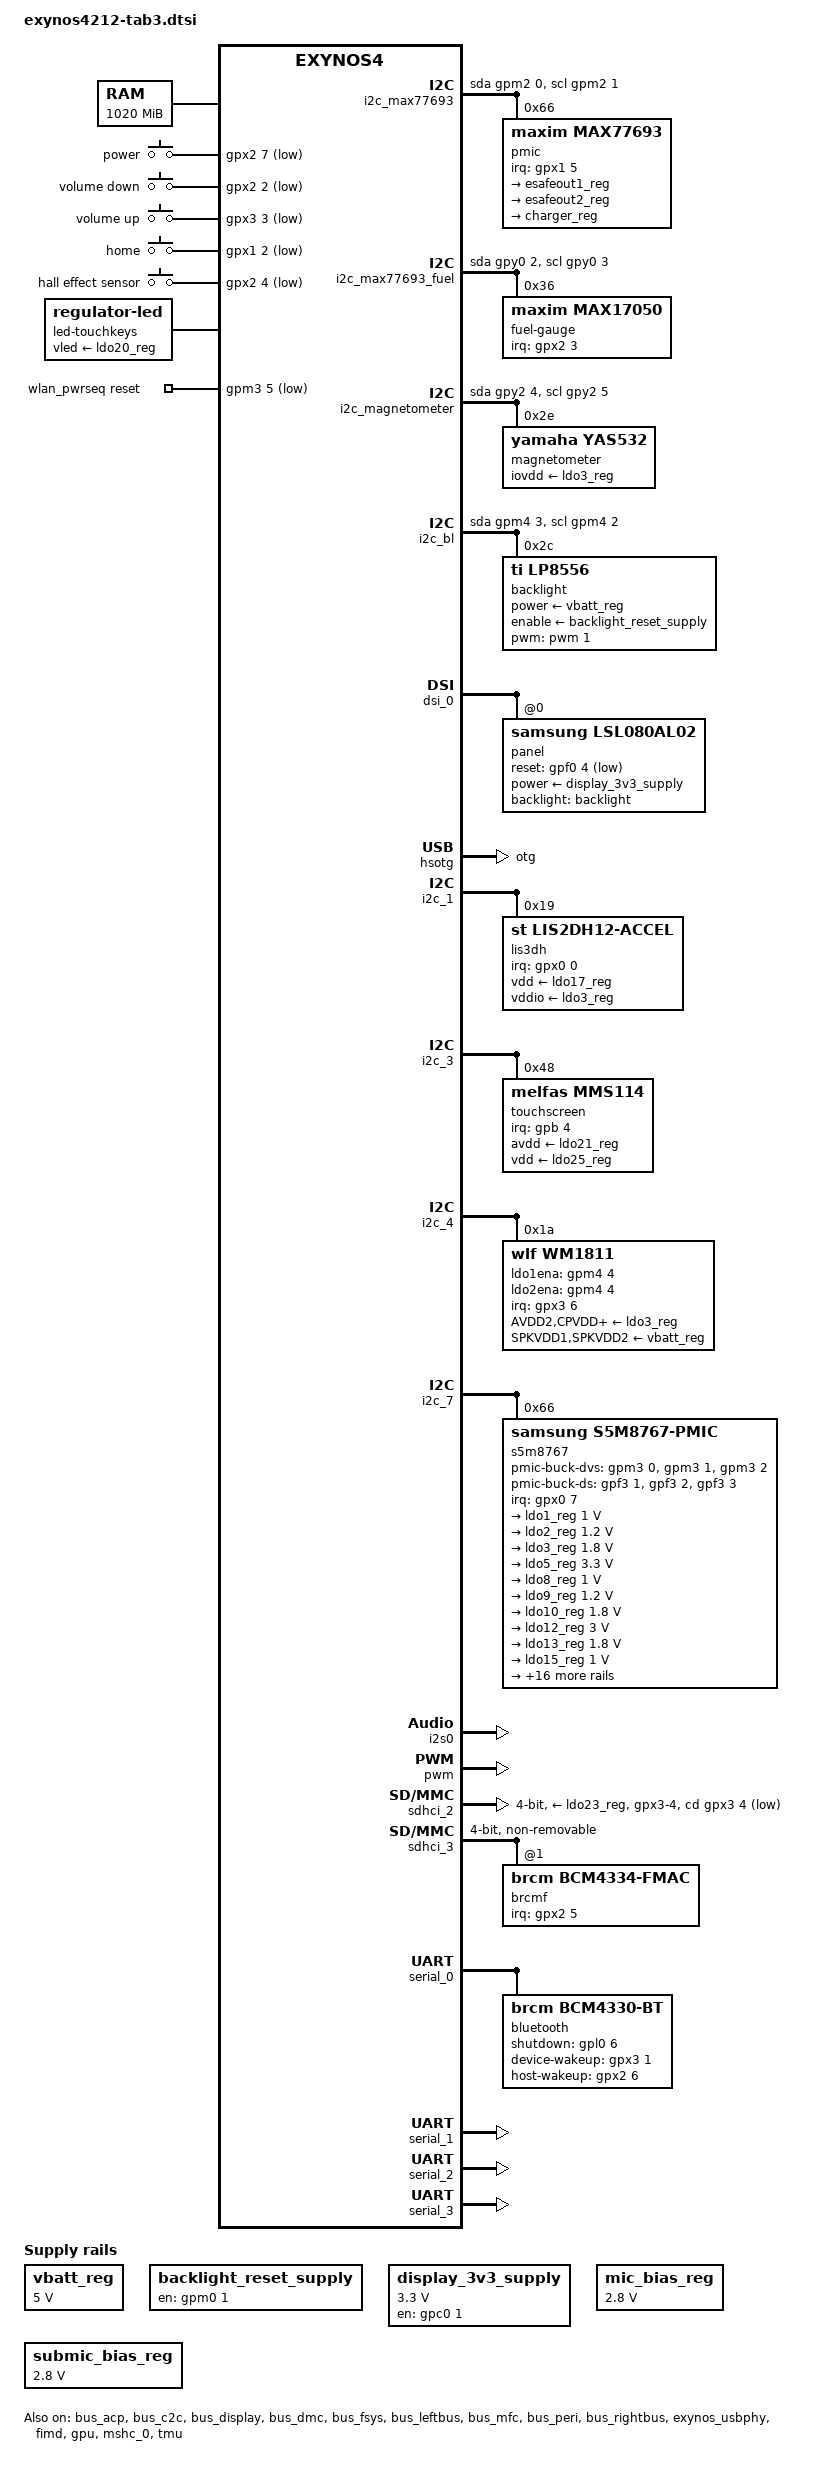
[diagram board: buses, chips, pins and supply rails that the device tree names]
// SPDX-License-Identifier: GPL-2.0
/*
 * Samsung's Exynos4212 based Galaxy Tab 3 board common source
 *
 * Copyright (c) 2013 Samsung Electronics Co., Ltd.
 *		http://www.samsung.com
 */

/dts-v1/;
#include "exynos4212.dtsi"
#include "exynos4412-ppmu-common.dtsi"
#include "exynos-mfc-reserved-memory.dtsi"
#include <dt-bindings/clock/samsung,s2mps11.h>
#include <dt-bindings/gpio/gpio.h>
#include <dt-bindings/leds/common.h>
#include <dt-bindings/input/gpio-keys.h>
#include <dt-bindings/input/input.h>
#include <dt-bindings/interrupt-controller/irq.h>
#include "exynos-pinctrl.h"

/ {
	compatible = "samsung,tab3", "samsung,exynos4212", "samsung,exynos4";

	memory@40000000 {
		device_type = "memory";

		/*
		 * Technically 1.5GB is available, but the latter 512MB is handled
		 * in a special way by downstream (every second page is skipped),
		 * and thus doesn't initialize correctly on mainline. Only 1020M is
		 * used for now.
		 */
		reg = <0x40000000 0x3fc00000>;
	};

	aliases {
		mmc0 = &mshc_0;   /* Internal storage */
		mmc1 = &sdhci_2;  /* SD card */
		mmc2 = &sdhci_3;  /* WiFi */
	};

	chosen {
		stdout-path = &serial_2;

		/* Default S-BOOT bootloader loads initramfs here */
		linux,initrd-start = <0x42000000>;
		linux,initrd-end = <0x42800000>;
	};

	firmware@204f000 {
		compatible = "samsung,secure-firmware";
		reg = <0x0204F000 0x1000>;
	};

	fixed-rate-clocks {
		xxti {
			compatible = "samsung,clock-xxti";
			clock-frequency = <0>;
		};

		xusbxti {
			compatible = "samsung,clock-xusbxti";
			clock-frequency = <24000000>;
		};
	};

	gpio-keys {
		compatible = "gpio-keys";
		pinctrl-names = "default";
		pinctrl-0 = <&gpio_keys>;

		key-power {
			gpios = <&gpx2 7 GPIO_ACTIVE_LOW>;
			linux,code = <KEY_POWER>;
			label = "power";
			debounce-interval = <10>;
			wakeup-source;
		};

		key-up {
			gpios = <&gpx2 2 GPIO_ACTIVE_LOW>;
			linux,code = <KEY_VOLUMEUP>;
			label = "volume down";
			debounce-interval = <10>;
		};

		key-down {
			gpios = <&gpx3 3 GPIO_ACTIVE_LOW>;
			linux,code = <KEY_VOLUMEDOWN>;
			label = "volume up";
			debounce-interval = <10>;
		};

		key-home {
			gpios = <&gpx1 2 GPIO_ACTIVE_LOW>;
			linux,code = <KEY_HOME>;
			label = "home";
			debounce-interval = <10>;
		};

		switch-hall-sensor {
			gpios = <&gpx2 4 GPIO_ACTIVE_LOW>;
			linux,input-type = <EV_SW>;
			linux,code = <SW_LID>;
			linux,can-disable;
			label = "hall effect sensor";
			debounce-interval = <10>;
			wakeup-source;
		};
	};

	led-touchkeys {
		compatible = "regulator-led";
		vled-supply = <&ldo20_reg>;
		default-state = "off";
		function = LED_FUNCTION_KBD_BACKLIGHT;
		color = <LED_COLOR_ID_WHITE>;
	};

	i2c_max77693: i2c-gpio-1 {
		compatible = "i2c-gpio";
		sda-gpios = <&gpm2 0 (GPIO_ACTIVE_HIGH | GPIO_OPEN_DRAIN)>;
		scl-gpios = <&gpm2 1 (GPIO_ACTIVE_HIGH | GPIO_OPEN_DRAIN)>;
		i2c-gpio,delay-us = <2>;
		#address-cells = <1>;
		#size-cells = <0>;

		pmic@66 {
			compatible = "maxim,max77693";
			reg = <0x66>;
			interrupt-parent = <&gpx1>;
			interrupts = <5 IRQ_TYPE_EDGE_FALLING>;
			pinctrl-names = "default";
			pinctrl-0 = <&max77693_irq>;

			regulators {
				esafeout1_reg: ESAFEOUT1 {
					regulator-name = "ESAFEOUT1";
					regulator-boot-on;
				};

				esafeout2_reg: ESAFEOUT2 {
					regulator-name = "ESAFEOUT2";
				};

				charger_reg: CHARGER {
					regulator-name = "CHARGER";
					regulator-min-microamp = <60000>;
					regulator-max-microamp = <2580000>;
					regulator-boot-on;
				};
			};

			charger {
				compatible = "maxim,max77693-charger";

				maxim,constant-microvolt = <4350000>;
				maxim,min-system-microvolt = <3600000>;
				maxim,thermal-regulation-celsius = <100>;
				maxim,battery-overcurrent-microamp = <3500000>;
				maxim,charge-input-threshold-microvolt = <4300000>;
			};
		};
	};

	i2c_max77693_fuel: i2c-gpio-2 {
		compatible = "i2c-gpio";
		sda-gpios = <&gpy0 2 (GPIO_ACTIVE_HIGH | GPIO_OPEN_DRAIN)>;
		scl-gpios = <&gpy0 3 (GPIO_ACTIVE_HIGH | GPIO_OPEN_DRAIN)>;
		i2c-gpio,delay-us = <2>;
		#address-cells = <1>;
		#size-cells = <0>;

		fuel-gauge@36 {
			compatible = "maxim,max17050";
			reg = <0x36>;
			interrupt-parent = <&gpx2>;
			interrupts = <3 IRQ_TYPE_EDGE_FALLING>;
			pinctrl-names = "default";
			pinctrl-0 = <&max77693_fuel_irq>;

			maxim,over-heat-temp = <500>;
			maxim,over-volt = <4500>;
		};
	};

	i2c_magnetometer: i2c-gpio-3 {
		compatible = "i2c-gpio";
		sda-gpios = <&gpy2 4 (GPIO_ACTIVE_HIGH | GPIO_OPEN_DRAIN)>;
		scl-gpios = <&gpy2 5 (GPIO_ACTIVE_HIGH | GPIO_OPEN_DRAIN)>;
		i2c-gpio,delay-us = <2>;
		#address-cells = <1>;
		#size-cells = <0>;

		magnetometer@2e {
			compatible = "yamaha,yas532";
			reg = <0x2e>;
			iovdd-supply = <&ldo3_reg>;
			mount-matrix = "-1", "0", "0",
					  "0", "1", "0",
					  "0", "0", "-1";
		};
	};

	i2c_lightsensor: i2c-gpio-4 {
		compatible = "i2c-gpio";
		sda-gpios = <&gpl0 2 (GPIO_ACTIVE_HIGH | GPIO_OPEN_DRAIN)>;
		scl-gpios = <&gpl0 1 (GPIO_ACTIVE_HIGH | GPIO_OPEN_DRAIN)>;
		i2c-gpio,delay-us = <2>;
		#address-cells = <1>;
		#size-cells = <0>;
		status = "disabled";

		/* WiFi model uses CM3323, 3G/LTE use CM36653 */
	};

	i2c_bl: i2c-gpio-5 {
		compatible = "i2c-gpio";
		sda-gpios = <&gpm4 3 (GPIO_ACTIVE_HIGH | GPIO_OPEN_DRAIN)>;
		scl-gpios = <&gpm4 2 (GPIO_ACTIVE_HIGH | GPIO_OPEN_DRAIN)>;
		#address-cells = <1>;
		#size-cells = <0>;

		backlight: backlight@2c {
			compatible = "ti,lp8556";
			reg = <0x2c>;

			bl-name = "lcd-bl";
			dev-ctrl = /bits/ 8 <0x80>;
			init-brt = /bits/ 8 <0x78>; /* 120 */

			power-supply = <&vbatt_reg>;
			enable-supply = <&backlight_reset_supply>;

			pwms = <&pwm 1 78770 0>;
			pwm-names = "lp8556";

			rom-a3h {
				rom-addr = /bits/ 8 <0xa3>;
				rom-val = /bits/ 8 <0x5e>;
			};

			rom-a5h {
				rom-addr = /bits/ 8 <0xa5>;
				rom-val = /bits/ 8 <0x34>;
			};

			rom-a7h {
				rom-addr = /bits/ 8 <0xa7>;
				rom-val = /bits/ 8 <0xfa>;
			};
		};
	};

	vbatt_reg: voltage-regulator-1 {
		compatible = "regulator-fixed";
		regulator-name = "VBATT";
		regulator-min-microvolt = <5000000>;
		regulator-max-microvolt = <5000000>;
		regulator-always-on;
	};

	backlight_reset_supply: voltage-regulator-2 {
		compatible = "regulator-fixed";
		regulator-name = "BACKLIGHT_ENVDDIO";
		pinctrl-names = "default";
		pinctrl-0 = <&backlight_reset>;
		gpio = <&gpm0 1 GPIO_ACTIVE_HIGH>;
		enable-active-high;
	};

	display_3v3_supply: voltage-regulator-3 {
		compatible = "regulator-fixed";
		regulator-name = "DISPLAY_3.3V";
		regulator-min-microvolt = <3300000>;
		regulator-max-microvolt = <3300000>;
		pinctrl-names = "default";
		pinctrl-0 = <&lcd_en>;
		gpio = <&gpc0 1 GPIO_ACTIVE_HIGH>; /* LCD_EN */
		enable-active-high;
	};

	mic_bias_reg: voltage-regulator-4 {
		compatible = "regulator-fixed";
		regulator-name = "MICBIAS_LDO_2.8V";
		regulator-min-microvolt = <2800000>;
		regulator-max-microvolt = <2800000>;
	};

	submic_bias_reg: voltage-regulator-5 {
		compatible = "regulator-fixed";
		regulator-name = "SUB_MICBIAS_LDO_2.8V";
		regulator-min-microvolt = <2800000>;
		regulator-max-microvolt = <2800000>;
	};

	sound: sound {
		compatible = "samsung,midas-audio";
		model = "TAB3";
		mic-bias-supply = <&mic_bias_reg>;
		submic-bias-supply = <&submic_bias_reg>;

		samsung,audio-routing =
			"HP", "HPOUT1L",
			"HP", "HPOUT1R",

			"SPK", "SPKOUTLN",
			"SPK", "SPKOUTLP",
			"SPK", "SPKOUTRN",
			"SPK", "SPKOUTRP",

			"RCV", "HPOUT2N",
			"RCV", "HPOUT2P",

			"LINE", "LINEOUT2N",
			"LINE", "LINEOUT2P",

			"HDMI", "LINEOUT1N",
			"HDMI", "LINEOUT1P",

			"IN2LP:VXRN", "MICBIAS1",
			"IN2LN", "MICBIAS1",
			"Main Mic", "MICBIAS1",

			"IN1RP", "MICBIAS2",
			"IN1RN", "MICBIAS2",
			"Sub Mic", "MICBIAS2",

			"IN1LP", "Headset Mic",
			"IN1LN", "Headset Mic";

		cpu {
			sound-dai = <&i2s0 0>;
		};

		codec {
			sound-dai = <&wm1811>;
		};
	};

	wlan_pwrseq: sdhci3-pwrseq {
		compatible = "mmc-pwrseq-simple";
		reset-gpios = <&gpm3 5 GPIO_ACTIVE_LOW>;
		clocks = <&s5m8767_osc S2MPS11_CLK_BT>;
		clock-names = "ext_clock";
	};
};

&bus_acp {
	devfreq = <&bus_dmc>;
	status = "okay";
};

&bus_c2c {
	devfreq = <&bus_dmc>;
	status = "okay";
};

&bus_display {
	devfreq = <&bus_leftbus>;
	status = "okay";
};

&bus_dmc {
	devfreq-events = <&ppmu_dmc0_3>, <&ppmu_dmc1_3>;
	vdd-supply = <&buck1_reg>;
	status = "okay";
};

&bus_fsys {
	devfreq = <&bus_leftbus>;
	status = "okay";
};

&bus_leftbus {
	devfreq-events = <&ppmu_leftbus_3>, <&ppmu_rightbus_3>;
	vdd-supply = <&buck3_reg>;
	status = "okay";
};

&bus_mfc {
	devfreq = <&bus_leftbus>;
	status = "okay";
};

&bus_peri {
	devfreq = <&bus_leftbus>;
	status = "okay";
};

&bus_rightbus {
	devfreq = <&bus_leftbus>;
	status = "okay";
};

&cpu0 {
	cpu0-supply = <&buck2_reg>;
};

&cpu_thermal {
	cooling-maps {
		map0 {
			/* Corresponds to 800MHz at freq_table */
			cooling-device = <&cpu0 7 7>, <&cpu1 7 7>;
		};
		map1 {
			/* Corresponds to 200MHz at freq_table */
			cooling-device = <&cpu0 13 13>, <&cpu1 13 13>;
		};
	};
};

&dsi_0 {
	vddcore-supply = <&ldo8_reg>;
	vddio-supply = <&ldo10_reg>;
	samsung,burst-clock-frequency = <500000000>;
	samsung,esc-clock-frequency = <20000000>;
	samsung,pll-clock-frequency = <24000000>;
	status = "okay";

	panel@0 {
		compatible = "samsung,lsl080al02", "samsung,s6d7aa0";
		reg = <0>;
		power-supply = <&display_3v3_supply>;
		pinctrl-names = "default";
		pinctrl-0 = <&lcd_nrst>;
		reset-gpios = <&gpf0 4 GPIO_ACTIVE_LOW>;
		backlight = <&backlight>;
	};
};

&exynos_usbphy {
	vbus-supply = <&esafeout1_reg>;
	status = "okay";
};

&fimd {
	samsung,invert-vclk;
	status = "okay";
};

&gpu {
	mali-supply = <&buck4_reg>;
	status = "okay";
};

&hsotg {
	vusb_d-supply = <&ldo15_reg>;
	vusb_a-supply = <&ldo12_reg>;
	dr_mode = "otg";
	status = "okay";
};

&i2c_1 {
	pinctrl-0 = <&i2c1_bus>;
	pinctrl-names = "default";
	status = "okay";

	lis3dh: accelerometer@19 {
		/* K2DH seems to be the same as lis2dh12 in terms of registers */
		compatible = "st,lis2dh12-accel";
		reg = <0x19>;

		interrupt-parent = <&gpx0>;
		interrupts = <0 IRQ_TYPE_EDGE_FALLING>;

		vdd-supply = <&ldo17_reg>;
		vddio-supply = <&ldo3_reg>;

		mount-matrix = "-1", "0", "0",
				  "0", "1", "0",
				  "0", "0", "-1";
	};
};

&i2c_3 {
	samsung,i2c-sda-delay = <100>;
	samsung,i2c-slave-addr = <0x10>;
	samsung,i2c-max-bus-freq = <400000>;
	pinctrl-0 = <&i2c3_bus>;
	pinctrl-names = "default";
	status = "okay";

	touchscreen@48 {
		/* MELFAS MMS252, using MMS114 compatible for now */
		compatible = "melfas,mms114";
		reg = <0x48>;
		interrupt-parent = <&gpb>;
		interrupts = <4 IRQ_TYPE_EDGE_FALLING>;
		touchscreen-size-x = <800>;
		touchscreen-size-y = <1280>;
		avdd-supply = <&ldo21_reg>;
		vdd-supply = <&ldo25_reg>;
		linux,keycodes = <KEY_MENU KEY_BACK>;
	};
};

&i2c_4 {
	samsung,i2c-sda-delay = <100>;
	samsung,i2c-slave-addr = <0x10>;
	samsung,i2c-max-bus-freq = <100000>;
	pinctrl-0 = <&i2c4_bus>;
	pinctrl-names = "default";
	status = "okay";

	wm1811: audio-codec@1a {
		compatible = "wlf,wm1811";
		reg = <0x1a>;
		clocks = <&pmu_system_controller 0>;
		clock-names = "MCLK1";
		interrupt-controller;
		#interrupt-cells = <2>;
		interrupt-parent = <&gpx3>;
		interrupts = <6 IRQ_TYPE_LEVEL_HIGH>;

		gpio-controller;
		#gpio-cells = <2>;
		#sound-dai-cells = <0>;

		wlf,gpio-cfg = <0x3 0x0 0x0 0x0 0x0 0x0
			0x0 0x8000 0x0 0x0 0x0>;
		wlf,micbias-cfg = <0x25 0x2f>;

		wlf,lineout1-feedback;
		wlf,lineout1-se;
		wlf,lineout2-se;
		wlf,ldoena-always-driven;

		AVDD2-supply = <&ldo3_reg>;
		CPVDD-supply = <&ldo3_reg>;
		DBVDD1-supply = <&ldo3_reg>;
		DBVDD2-supply = <&ldo3_reg>;
		DBVDD3-supply = <&ldo3_reg>;
		SPKVDD1-supply = <&vbatt_reg>;
		SPKVDD2-supply = <&vbatt_reg>;
		wlf,ldo1ena-gpios = <&gpm4 4 GPIO_ACTIVE_HIGH>;
		wlf,ldo2ena-gpios = <&gpm4 4 GPIO_ACTIVE_HIGH>;
	};
};

&i2c_7 {
	samsung,i2c-sda-delay = <100>;
	samsung,i2c-slave-addr = <0x10>;
	samsung,i2c-max-bus-freq = <100000>;
	pinctrl-0 = <&i2c7_bus>;
	pinctrl-names = "default";
	status = "okay";

	s5m8767: pmic@66 {
		compatible = "samsung,s5m8767-pmic";
		reg = <0x66>;
		interrupt-parent = <&gpx0>;
		interrupts = <7 IRQ_TYPE_LEVEL_LOW>;
		pinctrl-names = "default";
		pinctrl-0 = <&s5m8767_irq &s5m8767_dvs &s5m8767_ds>;
		wakeup-source;

		s5m8767,pmic-buck-default-dvs-idx = <1>;

		s5m8767,pmic-buck-dvs-gpios = <&gpm3 0 GPIO_ACTIVE_HIGH>,
						 <&gpm3 1 GPIO_ACTIVE_HIGH>,
						 <&gpm3 2 GPIO_ACTIVE_HIGH>;

		s5m8767,pmic-buck-ds-gpios = <&gpf3 1 GPIO_ACTIVE_HIGH>,
						 <&gpf3 2 GPIO_ACTIVE_HIGH>,
						 <&gpf3 3 GPIO_ACTIVE_HIGH>;

		s5m8767,pmic-buck2-dvs-voltage = <1100000>, <1100000>,
						<1100000>, <1100000>,
						<1100000>, <1100000>,
						<1100000>, <1100000>;

		s5m8767,pmic-buck3-dvs-voltage = <1100000>, <1100000>,
						<1100000>, <1100000>,
						<1100000>, <1100000>,
						<1100000>, <1100000>;

		s5m8767,pmic-buck4-dvs-voltage = <1100000>, <1100000>,
						<1100000>, <1100000>,
						<1100000>, <1100000>,
						<1100000>, <1100000>;

		regulators {
			ldo1_reg: LDO1 {
				regulator-name = "VALIVE_1.0V_AP";
				regulator-min-microvolt = <1000000>;
				regulator-max-microvolt = <1000000>;
				regulator-always-on;
				regulator-boot-on;
				op_mode = <1>;
			};

			ldo2_reg: LDO2 {
				regulator-name = "VM1M2_1.2V_AP";
				regulator-min-microvolt = <1200000>;
				regulator-max-microvolt = <1200000>;
				regulator-always-on;
				regulator-boot-on;
				op_mode = <1>;
			};

			ldo3_reg: LDO3 {
				regulator-name = "VCC_1.8V_AP";
				regulator-min-microvolt = <1800000>;
				regulator-max-microvolt = <1800000>;
				regulator-always-on;
				op_mode = <1>;
			};

			ldo5_reg: LDO5 {
				regulator-name = "VCC_3.3V_MHL";
				regulator-min-microvolt = <3300000>;
				regulator-max-microvolt = <3300000>;
				op_mode = <1>;
			};

			ldo8_reg: LDO8 {
				regulator-name = "VMIPI_1.0V";
				regulator-min-microvolt = <1000000>;
				regulator-max-microvolt = <1000000>;
				op_mode = <3>;
			};

			ldo9_reg: LDO9 {
				regulator-name = "VSIL_1.2V";
				regulator-min-microvolt = <1200000>;
				regulator-max-microvolt = <1200000>;
				op_mode = <1>;
			};

			ldo10_reg: LDO10 {
				regulator-name = "VMIPI_1.8V";
				regulator-min-microvolt = <1800000>;
				regulator-max-microvolt = <1800000>;
				op_mode = <3>;
			};

			ldo12_reg: LDO12 {
				regulator-name = "VUOTG_3.0V";
				regulator-min-microvolt = <3000000>;
				regulator-max-microvolt = <3000000>;
				op_mode = <1>;
				regulator-state-mem {
					regulator-off-in-suspend;
				};
			};

			ldo13_reg: LDO13 {
				regulator-name = "VCC_1.8V_MHL";
				regulator-min-microvolt = <1800000>;
				regulator-max-microvolt = <1800000>;
				op_mode = <1>;
			};

			ldo15_reg: LDO15 {
				regulator-name = "VHSIC_1.0V";
				regulator-min-microvolt = <1000000>;
				regulator-max-microvolt = <1000000>;
				op_mode = <1>;
				regulator-state-mem {
					regulator-on-in-suspend;
				};
			};

			ldo17_reg: LDO17 {
				regulator-name = "VCC_2.8V_AP";
				regulator-min-microvolt = <2800000>;
				regulator-max-microvolt = <2800000>;
				op_mode = <1>;
				regulator-always-on;
			};

			ldo19_reg: LDO19 {
				regulator-name = "VLED_IC_1.9V";
				regulator-min-microvolt = <1900000>;
				regulator-max-microvolt = <1900000>;
				op_mode = <1>;
				regulator-always-on;
			};

			ldo20_reg: LDO20 {
				regulator-name = "VTOUCH_3.3V";
				regulator-min-microvolt = <3300000>;
				regulator-max-microvolt = <3300000>;
				op_mode = <1>;
			};

			ldo21_reg: LDO21 {
				regulator-name = "TSP_VDD_3.3V";
				regulator-min-microvolt = <3300000>;
				regulator-max-microvolt = <3300000>;
				op_mode = <1>;
			};

			ldo22_reg: LDO22 {
				regulator-name = "5M_AF_2.8V";
				regulator-min-microvolt = <2800000>;
				regulator-max-microvolt = <2800000>;
				op_mode = <1>;
			};

			ldo23_reg: LDO23 {
				regulator-name = "VTF_2.8V";
				regulator-min-microvolt = <2800000>;
				regulator-max-microvolt = <2800000>;
				op_mode = <3>;
			};

			ldo24_reg: LDO24 {
				regulator-name = "LEDA_2.8V";
				regulator-min-microvolt = <2800000>;
				regulator-max-microvolt = <2800000>;
				op_mode = <1>;
			};

			ldo25_reg: LDO25 {
				regulator-name = "TSP_VDD_1.8V";
				regulator-min-microvolt = <1800000>;
				regulator-max-microvolt = <1800000>;
				op_mode = <1>;
			};

			ldo26_reg: LDO26 {
				regulator-name = "CAM_IO_1.8V";
				regulator-min-microvolt = <1800000>;
				regulator-max-microvolt = <1800000>;
				op_mode = <1>;
			};

			ldo27_reg: LDO27 {
				regulator-name = "VTCAM_1.8V";
				regulator-min-microvolt = <1800000>;
				regulator-max-microvolt = <1800000>;
				op_mode = <1>;
			};

			buck1_reg: BUCK1 {
				regulator-name = "VDD_MIF";
				regulator-min-microvolt = <850000>;
				regulator-max-microvolt = <1100000>;
				regulator-always-on;
				regulator-boot-on;
				op_mode = <3>;
			};

			buck2_reg: BUCK2 {
				regulator-name = "VDD_ARM";
				regulator-min-microvolt = <850000>;
				regulator-max-microvolt = <1500000>;
				regulator-always-on;
				regulator-boot-on;
				op_mode = <3>;
			};

			buck3_reg: BUCK3 {
				regulator-name = "VDD_INT";
				regulator-min-microvolt = <850000>;
				regulator-max-microvolt = <1300000>;
				regulator-always-on;
				regulator-boot-on;
				op_mode = <3>;
			};

			buck4_reg: BUCK4 {
				regulator-name = "VDD_G3D";
				regulator-min-microvolt = <850000>;
				regulator-max-microvolt = <1150000>;
				regulator-boot-on;
				op_mode = <3>;
			};

			buck5_reg: BUCK5 {
				regulator-name = "VMEM_1.2V_AP";
				regulator-min-microvolt = <1200000>;
				regulator-max-microvolt	= <1200000>;
				regulator-always-on;
				regulator-boot-on;
				op_mode = <1>;
			};

			buck6_reg: BUCK6 {
				regulator-name = "CAM_ISP_CORE_1.2V";
				regulator-min-microvolt = <1200000>;
				regulator-max-microvolt = <1200000>;
				op_mode = <1>;

				regulator-state-mem {
					regulator-off-in-suspend;
				};
			};
		};

		s5m8767_osc: clocks {
			compatible = "samsung,s5m8767-clk";
			#clock-cells = <1>;
			clock-output-names = "en32khz_ap",
					     "en32khz_cp",
					     "en32khz_bt";
		};
	};
};

&i2s0 {
	pinctrl-0 = <&i2s0_bus>;
	pinctrl-names = "default";
	status = "okay";
};

&mshc_0 {
	broken-cd;
	non-removable;
	card-detect-delay = <200>;
	vmmc-supply = <&ldo22_reg>;
	clock-frequency = <400000000>;
	samsung,dw-mshc-ciu-div = <0>;
	samsung,dw-mshc-sdr-timing = <2 3>;
	samsung,dw-mshc-ddr-timing = <1 2>;
	pinctrl-0 = <&sd4_clk &sd4_cmd &sd4_bus4 &sd4_bus8>;
	pinctrl-names = "default";
	bus-width = <8>;
	cap-mmc-highspeed;
	mmc-ddr-1_8v;
	status = "okay";
};

&pinctrl_0 {
	pinctrl-names = "default";
	pinctrl-0 = <&sleep0>;

	lcd_en: lcd-en-pins {
		samsung,pins = "gpc0-1";
		samsung,pin-function = <EXYNOS_PIN_FUNC_OUTPUT>;
		samsung,pin-pud = <EXYNOS_PIN_PULL_NONE>;
	};

	lcd_nrst: lcd-nrst-pins {
		samsung,pins = "gpf0-4";
		samsung,pin-function = <EXYNOS_PIN_FUNC_OUTPUT>;
		samsung,pin-pud = <EXYNOS_PIN_PULL_NONE>;
	};

	s5m8767_ds: s5m8767-ds-pins {
		samsung,pins = "gpf3-1", "gpf3-2", "gpf3-3";
		samsung,pin-function = <EXYNOS_PIN_FUNC_INPUT>;
		samsung,pin-pud = <EXYNOS_PIN_PULL_DOWN>;
		samsung,pin-drv = <EXYNOS4_PIN_DRV_LV1>;
	};

	sleep0: sleep-state {
		PIN_SLP(gpa0-0, INPUT, NONE);
		PIN_SLP(gpa0-1, OUT0, NONE);
		PIN_SLP(gpa0-2, INPUT, NONE);
		PIN_SLP(gpa0-3, INPUT, UP);
		PIN_SLP(gpa0-4, INPUT, DOWN);
		PIN_SLP(gpa0-5, INPUT, DOWN);
		PIN_SLP(gpa0-6, INPUT, DOWN);
		PIN_SLP(gpa0-7, INPUT, DOWN);

		PIN_SLP(gpa1-0, INPUT, DOWN);
		PIN_SLP(gpa1-1, INPUT, DOWN);
		PIN_SLP(gpa1-2, INPUT, DOWN);
		PIN_SLP(gpa1-3, INPUT, DOWN);
		PIN_SLP(gpa1-4, INPUT, DOWN);
		PIN_SLP(gpa1-5, INPUT, DOWN);

		PIN_SLP(gpb-0, INPUT, NONE);
		PIN_SLP(gpb-1, INPUT, NONE);
		PIN_SLP(gpb-2, INPUT, NONE);
		PIN_SLP(gpb-3, INPUT, NONE);
		PIN_SLP(gpb-4, INPUT, DOWN);
		PIN_SLP(gpb-5, INPUT, DOWN);
		PIN_SLP(gpb-6, INPUT, DOWN);
		PIN_SLP(gpb-7, INPUT, DOWN);

		PIN_SLP(gpc0-0, INPUT, DOWN);
		PIN_SLP(gpc0-1, INPUT, DOWN);
		PIN_SLP(gpc0-2, INPUT, NONE);
		PIN_SLP(gpc0-3, INPUT, NONE);
		PIN_SLP(gpc0-4, INPUT, NONE);

		PIN_SLP(gpc1-0, INPUT, DOWN);
		PIN_SLP(gpc1-1, INPUT, DOWN);
		PIN_SLP(gpc1-2, INPUT, DOWN);
		PIN_SLP(gpc1-3, INPUT, DOWN);
		PIN_SLP(gpc1-4, INPUT, DOWN);

		PIN_SLP(gpd0-0, INPUT, DOWN);
		PIN_SLP(gpd0-1, OUT0, NONE);
		PIN_SLP(gpd0-2, INPUT, NONE);
		PIN_SLP(gpd0-3, INPUT, NONE);

		PIN_SLP(gpd1-0, INPUT, DOWN);
		PIN_SLP(gpd1-1, INPUT, DOWN);
		PIN_SLP(gpd1-2, INPUT, NONE);
		PIN_SLP(gpd1-3, INPUT, NONE);

		PIN_SLP(gpf0-0, INPUT, DOWN);
		PIN_SLP(gpf0-1, INPUT, DOWN);
		PIN_SLP(gpf0-2, INPUT, DOWN);
		PIN_SLP(gpf0-3, INPUT, DOWN);
		PIN_SLP(gpf0-4, OUT0, NONE);
		PIN_SLP(gpf0-5, OUT0, NONE);
		PIN_SLP(gpf0-6, INPUT, DOWN);
		PIN_SLP(gpf0-7, INPUT, DOWN);

		PIN_SLP(gpf1-0, INPUT, DOWN);
		PIN_SLP(gpf1-1, INPUT, DOWN);
		PIN_SLP(gpf1-2, INPUT, DOWN);
		PIN_SLP(gpf1-3, INPUT, DOWN);
		PIN_SLP(gpf1-4, INPUT, DOWN);
		PIN_SLP(gpf1-5, INPUT, DOWN);
		PIN_SLP(gpf1-6, INPUT, DOWN);
		PIN_SLP(gpf1-7, INPUT, DOWN);

		PIN_SLP(gpf2-0, INPUT, DOWN);
		PIN_SLP(gpf2-1, INPUT, DOWN);
		PIN_SLP(gpf2-2, INPUT, DOWN);
		PIN_SLP(gpf2-3, INPUT, DOWN);
		PIN_SLP(gpf2-4, INPUT, DOWN);
		PIN_SLP(gpf2-5, INPUT, DOWN);
		PIN_SLP(gpf2-6, INPUT, DOWN);
		PIN_SLP(gpf2-7, INPUT, DOWN);

		PIN_SLP(gpf3-0, INPUT, DOWN);
		PIN_SLP(gpf3-1, INPUT, DOWN);
		PIN_SLP(gpf3-2, INPUT, DOWN);
		PIN_SLP(gpf3-3, INPUT, DOWN);
		PIN_SLP(gpf3-4, PREV, NONE);
		PIN_SLP(gpf3-5, OUT0, DOWN);

		PIN_SLP(gpj0-0, INPUT, DOWN);
		PIN_SLP(gpj0-1, INPUT, DOWN);
		PIN_SLP(gpj0-2, INPUT, DOWN);
		PIN_SLP(gpj0-3, OUT0, NONE);
		PIN_SLP(gpj0-4, INPUT, DOWN);
		PIN_SLP(gpj0-5, INPUT, DOWN);
		PIN_SLP(gpj0-6, OUT0, NONE);
		PIN_SLP(gpj0-7, OUT0, NONE);

		PIN_SLP(gpj1-0, OUT0, NONE);
		PIN_SLP(gpj1-1, INPUT, DOWN);
		PIN_SLP(gpj1-2, PREV, NONE);
		PIN_SLP(gpj1-3, INPUT, DOWN);
		PIN_SLP(gpj1-4, INPUT, DOWN);
	};
};

&pinctrl_1 {
	pinctrl-names = "default";
	pinctrl-0 = <&sleep1>;

	bt_shutdown: bt-shutdown-pins {
		samsung,pins = "gpl0-6";
		samsung,pin-pud = <EXYNOS_PIN_PULL_NONE>;
	};

	bt_host_wakeup: bt-host-wakeup-pins {
		samsung,pins = "gpx2-6";
		samsung,pin-pud = <EXYNOS_PIN_PULL_NONE>;
	};

	bt_device_wakeup: bt-device-wakeup-pins {
		samsung,pins = "gpx3-1";
		samsung,pin-pud = <EXYNOS_PIN_PULL_NONE>;
	};

	backlight_reset: backlight-reset-pins {
		samsung,pins = "gpm0-1";
		samsung,pin-function = <EXYNOS_PIN_FUNC_OUTPUT>;
		samsung,pin-pud = <EXYNOS_PIN_PULL_NONE>;
	};

	gpio_keys: gpio-keys-pins {
		samsung,pins = "gpx1-2", "gpx2-2", "gpx2-4", "gpx2-7", "gpx3-3";
		samsung,pin-pud = <EXYNOS_PIN_PULL_NONE>;
	};

	max77693_irq: max77693-irq-pins {
		samsung,pins = "gpx1-5";
		samsung,pin-function = <EXYNOS_PIN_FUNC_INPUT>;
		samsung,pin-pud = <EXYNOS_PIN_PULL_NONE>;
		samsung,pin-drv = <EXYNOS4_PIN_DRV_LV1>;
	};

	max77693_fuel_irq: max77693-fuel-irq-pins {
		samsung,pins = "gpx2-3";
		samsung,pin-function = <EXYNOS_PIN_FUNC_INPUT>;
		samsung,pin-pud = <EXYNOS_PIN_PULL_NONE>;
		samsung,pin-drv = <EXYNOS4_PIN_DRV_LV1>;
	};

	sdhci2_cd: sdhci2-cd-irq-pins {
		samsung,pins = "gpx3-4";
		samsung,pin-function = <EXYNOS_PIN_FUNC_INPUT>;
		samsung,pin-pud = <EXYNOS_PIN_PULL_NONE>;
		samsung,pin-drv = <EXYNOS4_PIN_DRV_LV1>;
	};

	s5m8767_dvs: s5m8767-dvs-pins {
		samsung,pins = "gpm3-0", "gpm3-1", "gpm3-2";
		samsung,pin-function = <EXYNOS_PIN_FUNC_OUTPUT>;
		samsung,pin-pud = <EXYNOS_PIN_PULL_NONE>;
		samsung,pin-drv = <EXYNOS4_PIN_DRV_LV1>;
	};

	s5m8767_irq: s5m8767-irq-pins {
		samsung,pins = "gpx0-7";
		samsung,pin-function = <EXYNOS_PIN_FUNC_EINT>;
		samsung,pin-pud = <EXYNOS_PIN_PULL_NONE>;
		samsung,pin-drv = <EXYNOS4_PIN_DRV_LV1>;
	};

	sleep1: sleep-state {
		PIN_SLP(gpk0-0, PREV, NONE);
		PIN_SLP(gpk0-1, PREV, NONE);
		PIN_SLP(gpk0-2, PREV, NONE);
		PIN_SLP(gpk0-3, PREV, NONE);
		PIN_SLP(gpk0-4, PREV, NONE);
		PIN_SLP(gpk0-5, PREV, NONE);
		PIN_SLP(gpk0-6, PREV, NONE);

		PIN_SLP(gpk1-0, INPUT, DOWN);
		PIN_SLP(gpk1-1, INPUT, DOWN);
		PIN_SLP(gpk1-2, INPUT, DOWN);
		PIN_SLP(gpk1-3, PREV, NONE);
		PIN_SLP(gpk1-4, PREV, NONE);
		PIN_SLP(gpk1-5, PREV, NONE);
		PIN_SLP(gpk1-6, PREV, NONE);

		PIN_SLP(gpk2-0, INPUT, DOWN);
		PIN_SLP(gpk2-1, INPUT, DOWN);
		PIN_SLP(gpk2-2, INPUT, DOWN);
		PIN_SLP(gpk2-3, INPUT, DOWN);
		PIN_SLP(gpk2-4, INPUT, DOWN);
		PIN_SLP(gpk2-5, INPUT, DOWN);
		PIN_SLP(gpk2-6, INPUT, DOWN);

		PIN_SLP(gpk3-0, OUT0, NONE);
		PIN_SLP(gpk3-1, INPUT, NONE);
		PIN_SLP(gpk3-2, INPUT, DOWN);
		PIN_SLP(gpk3-3, INPUT, NONE);
		PIN_SLP(gpk3-4, INPUT, NONE);
		PIN_SLP(gpk3-5, INPUT, NONE);
		PIN_SLP(gpk3-6, INPUT, NONE);

		PIN_SLP(gpl0-0, INPUT, DOWN);
		PIN_SLP(gpl0-1, INPUT, NONE);
		PIN_SLP(gpl0-2, INPUT, NONE);
		PIN_SLP(gpl0-3, INPUT, DOWN);
		PIN_SLP(gpl0-4, INPUT, DOWN);
		PIN_SLP(gpl0-6, PREV, NONE);

		PIN_SLP(gpl1-0, INPUT, DOWN);
		PIN_SLP(gpl1-1, OUT0, NONE);
		PIN_SLP(gpl2-0, INPUT, DOWN);
		PIN_SLP(gpl2-1, PREV, NONE);
		PIN_SLP(gpl2-2, PREV, NONE);
		PIN_SLP(gpl2-3, INPUT, DOWN);
		PIN_SLP(gpl2-4, INPUT, DOWN);
		PIN_SLP(gpl2-5, INPUT, DOWN);
		PIN_SLP(gpl2-6, INPUT, DOWN);
		PIN_SLP(gpl2-7, INPUT, DOWN);

		PIN_SLP(gpm0-0, PREV, NONE);
		PIN_SLP(gpm0-1, OUT0, NONE);
		PIN_SLP(gpm0-2, INPUT, DOWN);
		PIN_SLP(gpm0-3, INPUT, DOWN);
		PIN_SLP(gpm0-4, INPUT, DOWN);
		PIN_SLP(gpm0-5, INPUT, DOWN);
		PIN_SLP(gpm0-6, INPUT, DOWN);
		PIN_SLP(gpm0-7, INPUT, DOWN);

		PIN_SLP(gpm1-0, INPUT, DOWN);
		PIN_SLP(gpm1-1, INPUT, DOWN);
		PIN_SLP(gpm1-2, INPUT, NONE);
		PIN_SLP(gpm1-3, INPUT, NONE);
		PIN_SLP(gpm1-4, INPUT, NONE);
		PIN_SLP(gpm1-5, INPUT, NONE);
		PIN_SLP(gpm1-6, OUT0, NONE);

		PIN_SLP(gpm2-0, INPUT, NONE);
		PIN_SLP(gpm2-1, INPUT, NONE);
		PIN_SLP(gpm2-2, OUT0, NONE);
		PIN_SLP(gpm2-3, INPUT, DOWN);
		PIN_SLP(gpm2-4, INPUT, DOWN);

		PIN_SLP(gpm3-0, PREV, NONE);
		PIN_SLP(gpm3-1, PREV, NONE);
		PIN_SLP(gpm3-2, PREV, NONE);
		PIN_SLP(gpm3-3, INPUT, DOWN);
		PIN_SLP(gpm3-4, INPUT, DOWN);
		PIN_SLP(gpm3-5, PREV, NONE);
		PIN_SLP(gpm3-6, INPUT, DOWN);
		PIN_SLP(gpm3-7, OUT0, NONE);

		PIN_SLP(gpm4-0, INPUT, DOWN);
		PIN_SLP(gpm4-1, INPUT, DOWN);
		PIN_SLP(gpm4-2, INPUT, DOWN);
		PIN_SLP(gpm4-3, INPUT, DOWN);
		PIN_SLP(gpm4-4, PREV, NONE);
		PIN_SLP(gpm4-5, INPUT, NONE);
		PIN_SLP(gpm4-6, INPUT, DOWN);
		PIN_SLP(gpm4-7, INPUT, DOWN);

		PIN_SLP(gpy0-0, INPUT, DOWN);
		PIN_SLP(gpy0-1, INPUT, DOWN);
		PIN_SLP(gpy0-2, INPUT, NONE);
		PIN_SLP(gpy0-3, INPUT, NONE);
		PIN_SLP(gpy0-4, INPUT, DOWN);
		PIN_SLP(gpy0-5, INPUT, DOWN);

		PIN_SLP(gpy1-0, INPUT, DOWN);
		PIN_SLP(gpy1-1, INPUT, DOWN);
		PIN_SLP(gpy1-2, INPUT, DOWN);
		PIN_SLP(gpy1-3, INPUT, DOWN);

		PIN_SLP(gpy2-0, PREV, NONE);
		PIN_SLP(gpy2-1, INPUT, DOWN);
		PIN_SLP(gpy2-2, INPUT, NONE);
		PIN_SLP(gpy2-3, INPUT, NONE);
		PIN_SLP(gpy2-4, INPUT, NONE);
		PIN_SLP(gpy2-5, INPUT, NONE);

		PIN_SLP(gpy3-0, INPUT, DOWN);
		PIN_SLP(gpy3-1, INPUT, DOWN);
		PIN_SLP(gpy3-2, INPUT, DOWN);
		PIN_SLP(gpy3-3, INPUT, DOWN);
		PIN_SLP(gpy3-4, INPUT, DOWN);
		PIN_SLP(gpy3-5, INPUT, DOWN);
		PIN_SLP(gpy3-6, INPUT, DOWN);
		PIN_SLP(gpy3-7, INPUT, DOWN);

		PIN_SLP(gpy4-0, INPUT, DOWN);
		PIN_SLP(gpy4-1, INPUT, DOWN);
		PIN_SLP(gpy4-2, INPUT, DOWN);
		PIN_SLP(gpy4-3, INPUT, DOWN);
		PIN_SLP(gpy4-4, INPUT, DOWN);
		PIN_SLP(gpy4-5, INPUT, DOWN);
		PIN_SLP(gpy4-6, INPUT, DOWN);
		PIN_SLP(gpy4-7, INPUT, DOWN);

		PIN_SLP(gpy5-0, INPUT, DOWN);
		PIN_SLP(gpy5-1, INPUT, DOWN);
		PIN_SLP(gpy5-2, INPUT, DOWN);
		PIN_SLP(gpy5-3, INPUT, DOWN);
		PIN_SLP(gpy5-4, INPUT, DOWN);
		PIN_SLP(gpy5-5, INPUT, DOWN);
		PIN_SLP(gpy5-6, INPUT, DOWN);
		PIN_SLP(gpy5-7, INPUT, DOWN);

		PIN_SLP(gpy6-0, INPUT, DOWN);
		PIN_SLP(gpy6-1, INPUT, DOWN);
		PIN_SLP(gpy6-2, INPUT, DOWN);
		PIN_SLP(gpy6-3, INPUT, DOWN);
		PIN_SLP(gpy6-4, INPUT, DOWN);
		PIN_SLP(gpy6-5, INPUT, DOWN);
		PIN_SLP(gpy6-6, INPUT, DOWN);
		PIN_SLP(gpy6-7, INPUT, DOWN);
	};
};

&pinctrl_2 {
	pinctrl-names = "default";
	pinctrl-0 = <&sleep2>;

	sleep2: sleep-state {
		PIN_SLP(gpz-0, INPUT, DOWN);
		PIN_SLP(gpz-1, INPUT, DOWN);
		PIN_SLP(gpz-2, INPUT, DOWN);
		PIN_SLP(gpz-3, INPUT, DOWN);
		PIN_SLP(gpz-4, INPUT, DOWN);
		PIN_SLP(gpz-5, INPUT, DOWN);
		PIN_SLP(gpz-6, INPUT, DOWN);
	};
};

&pinctrl_3 {
	pinctrl-names = "default";
	pinctrl-0 = <&sleep3>;

	sleep3: sleep-state {
		PIN_SLP(gpv0-0, INPUT, DOWN);
		PIN_SLP(gpv0-1, INPUT, DOWN);
		PIN_SLP(gpv0-2, INPUT, DOWN);
		PIN_SLP(gpv0-3, INPUT, DOWN);
		PIN_SLP(gpv0-4, INPUT, DOWN);
		PIN_SLP(gpv0-5, INPUT, DOWN);
		PIN_SLP(gpv0-6, INPUT, DOWN);
		PIN_SLP(gpv0-7, INPUT, DOWN);

		PIN_SLP(gpv1-0, INPUT, DOWN);
		PIN_SLP(gpv1-1, INPUT, DOWN);
		PIN_SLP(gpv1-2, INPUT, DOWN);
		PIN_SLP(gpv1-3, INPUT, DOWN);
		PIN_SLP(gpv1-4, INPUT, DOWN);
		PIN_SLP(gpv1-5, INPUT, DOWN);
		PIN_SLP(gpv1-6, INPUT, DOWN);
		PIN_SLP(gpv1-7, INPUT, DOWN);

		PIN_SLP(gpv2-0, INPUT, DOWN);
		PIN_SLP(gpv2-1, INPUT, DOWN);
		PIN_SLP(gpv2-2, INPUT, DOWN);
		PIN_SLP(gpv2-3, INPUT, DOWN);
		PIN_SLP(gpv2-4, INPUT, DOWN);
		PIN_SLP(gpv2-5, INPUT, DOWN);
		PIN_SLP(gpv2-6, INPUT, DOWN);
		PIN_SLP(gpv2-7, INPUT, DOWN);

		PIN_SLP(gpv3-0, INPUT, DOWN);
		PIN_SLP(gpv3-1, INPUT, DOWN);
		PIN_SLP(gpv3-2, INPUT, DOWN);
		PIN_SLP(gpv3-3, INPUT, DOWN);
		PIN_SLP(gpv3-4, INPUT, DOWN);
		PIN_SLP(gpv3-5, INPUT, DOWN);
		PIN_SLP(gpv3-6, INPUT, DOWN);
		PIN_SLP(gpv3-7, INPUT, DOWN);

		PIN_SLP(gpv4-0, INPUT, DOWN);
		PIN_SLP(gpv4-1, INPUT, DOWN);
	};
};

&pmu_system_controller {
	assigned-clocks = <&pmu_system_controller 0>;
	assigned-clock-parents = <&clock CLK_XUSBXTI>;
};

&pwm {
	pinctrl-0 = <&pwm1_out>;
	pinctrl-names = "default";
	samsung,pwm-outputs = <1>;
	status = "okay";
};

/*
 * The internal RTC does not work; instead, the RTC provided by the
 * S5M8766 PMIC is used. Disable the RTC to make sure the working
 * one gets used.
 *
 * We add this node to avoid DTB check warnings, as the Exynos4 RTC
 * requires two clocks, and only one is set up by default.
 */
&rtc {
	clocks = <&clock CLK_RTC>, <&s5m8767_osc S2MPS11_CLK_AP>;
	clock-names = "rtc", "rtc_src";
	status = "disabled";
};

&sdhci_2 {
	bus-width = <4>;
	cd-gpios = <&gpx3 4 GPIO_ACTIVE_LOW>;
	pinctrl-0 = <&sd2_clk &sd2_cmd &sd2_bus4 &sdhci2_cd>;
	pinctrl-names = "default";
	vmmc-supply = <&ldo23_reg>;
	status = "okay";
};

&sdhci_3 {
	#address-cells = <1>;
	#size-cells = <0>;
	non-removable;
	bus-width = <4>;

	mmc-pwrseq = <&wlan_pwrseq>;
	pinctrl-names = "default";
	pinctrl-0 = <&sd3_clk &sd3_cmd &sd3_bus4>;
	status = "okay";

	brcmf: wifi@1 {
		compatible = "brcm,bcm4334-fmac", "brcm,bcm4329-fmac";
		reg = <1>;

		interrupt-parent = <&gpx2>;
		interrupts = <5 IRQ_TYPE_LEVEL_HIGH>;
		interrupt-names = "host-wake";
	};
};

&serial_0 {
	pinctrl-0 = <&uart0_data &uart0_fctl>;
	pinctrl-names = "default";
	status = "okay";

	bluetooth {
		compatible = "brcm,bcm4330-bt"; /* BCM4334B0 */
		pinctrl-0 = <&bt_shutdown &bt_device_wakeup &bt_host_wakeup>;
		pinctrl-names = "default";
		max-speed = <3000000>;
		shutdown-gpios = <&gpl0 6 GPIO_ACTIVE_HIGH>;
		device-wakeup-gpios = <&gpx3 1 GPIO_ACTIVE_HIGH>;
		host-wakeup-gpios = <&gpx2 6 GPIO_ACTIVE_HIGH>;
		clocks = <&s5m8767_osc S2MPS11_CLK_BT>;
	};
};

&serial_1 {
	status = "okay";
};

&serial_2 {
	status = "okay";
};

&serial_3 {
	status = "okay";
};

&tmu {
	vtmu-supply = <&ldo10_reg>;
	status = "okay";
};
